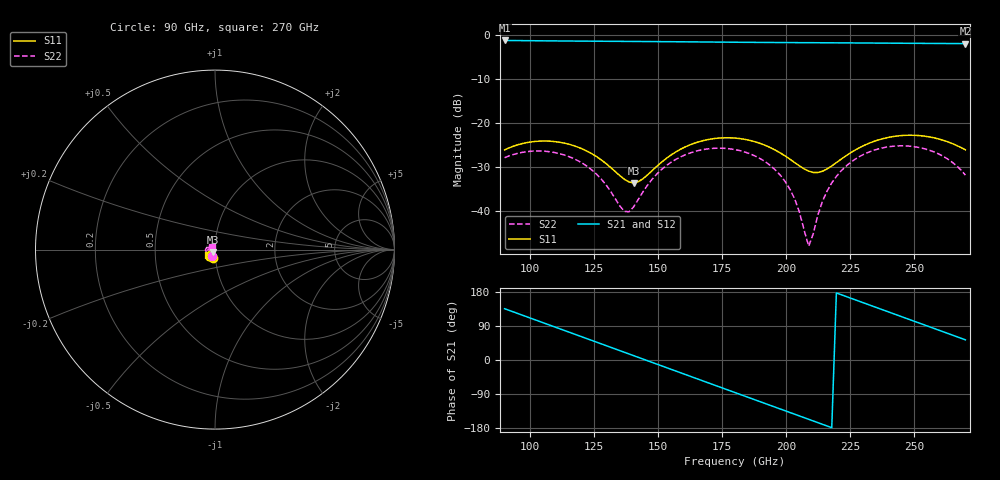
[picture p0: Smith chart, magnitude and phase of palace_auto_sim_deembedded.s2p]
! Created with skrf 1.11.0 (http://scikit-rf.org).
# GHz S DB R 50.0
!freq dBS11 angS11 dBS21 angS21 dBS12 angS12 dBS22 angS22
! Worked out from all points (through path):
!   101 points, 90 GHz to 270 GHz, reference 50 ohm
!   highest |S21| = -1.33 dB at 90 GHz (marker M1); lowest = -2.0 dB at 270 GHz (marker M2)
!   group delay of S21, straight-line fit = 6.82 ps
!   lowest |S11| = -33.7 dB at 140.4 GHz (marker M3), VSWR 1.04, Z = 48.7 - j1.57 ohm
!   |S11| at or under -10 dB: start of sweep to end of sweep
!   |S22| runs from -48.1 to -25.3 dB; largest |S21 - S12| = 9.6e-14
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90  -26.21 -100.1  -1.33 135.4  -1.33 135.4  -27.97 -118.6
99  -24.52 -116.5  -1.38 113.2  -1.38 113.2  -26.59 -138.8
106.2  -24.19 -130.0  -1.42 95.5  -1.42 95.5  -26.54 -155.3
120.6  -26.05 -153.7  -1.48 60.2  -1.48 60.2  -29.31 174.5
127.8  -28.50 -159.8  -1.51 42.5  -1.51 42.5  -32.88 165.4
136.8  -32.90 -146.3  -1.54 20.3  -1.54 20.3  -40.18 -164.9
140.4  -33.70 -128.8  -1.55 11.5  -1.55 11.5  -39.16 -130.8
151.2  -29.06 -97.9  -1.60 -15.1  -1.60 -15.1  -30.73 -116.8
167.4  -24.12 -113.4  -1.67 -55.0  -1.67 -55.0  -26.15 -148.3
180  -23.52 -133.2  -1.73 -85.9  -1.73 -85.9  -26.14 -177.3
189  -24.57 -146.1  -1.77 -108.0  -1.77 -108.0  -27.93 162.0
196.2  -26.40 -152.6  -1.80 -125.6  -1.80 -125.6  -31.01 146.7
203.4  -29.12 -150.6  -1.82 -143.3  -1.82 -143.3  -37.49 137.9
208.8  -31.05 -137.4  -1.84 -156.5  -1.84 -156.5  -48.10 -167.9
210.6  -31.34 -130.6  -1.84 -161.0  -1.84 -161.0  -45.21 -122.7
214.2  -31.05 -116.5  -1.85 -169.8  -1.85 -169.8  -37.86 -103.9
221.4  -28.35 -100.9  -1.88 172.5  -1.88 172.5  -31.02 -112.0
230.4  -25.20 -102.1  -1.91 150.4  -1.91 150.4  -27.19 -131.3
241.2  -23.23 -114.3  -1.95 123.9  -1.95 123.9  -25.41 -156.5
255.6  -23.22 -133.7  -2.00 88.6  -2.00 88.6  -26.22 169.7
262.8  -24.31 -141.5  -2.02 70.9  -2.02 70.9  -28.18 153.6
270  -26.18 -144.9  -2.04 53.3  -2.04 53.3  -31.93 139.8
